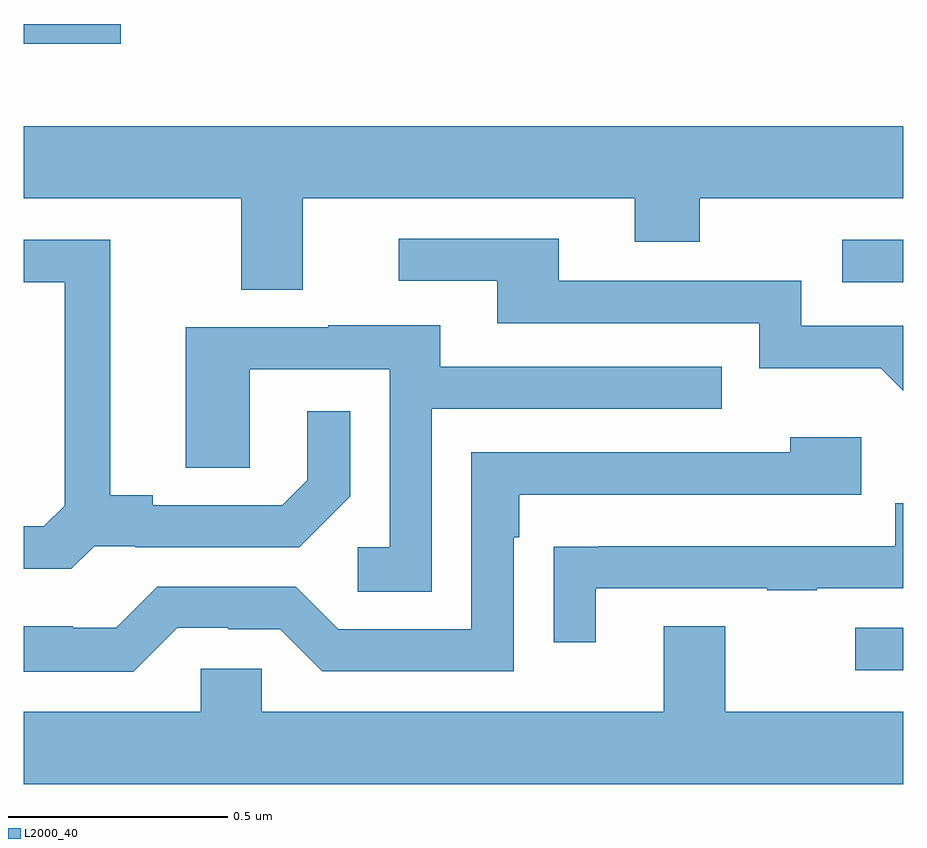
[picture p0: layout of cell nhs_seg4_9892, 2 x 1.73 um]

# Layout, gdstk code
import gdstk
lib = gdstk.Library(unit=1e-6, precision=1e-09)
def R(c, l, rs):  # rectangles x0, y0, x1, y1
    for r in rs: c.add(gdstk.rectangle(r[:2], r[2:], *l))
def P(c, l, *ps):  # polygons
    for p in ps: c.add(gdstk.Polygon(p, *l))
L2000_40 = (2000, 40)

nhs_seg4_9892 = lib.new_cell('nhs_seg4_9892')
R(nhs_seg4_9892, L2000_40, [(234.891,778.431,235,778.527), (234.861,779.313,235,779.409), (233,779.855,233.221,779.9)])
P(nhs_seg4_9892, L2000_40, [(233.635,779.504),(234.389,779.504),(234.389,779.405),(234.537,779.405),(234.537,779.504),(235,779.504),(235,779.668),(233,779.668),(233,779.504),(233.495,779.504),(233.495,779.296),(233.635,779.296)],
  [(235,779.214),(234.768,779.214),(234.768,779.316),(234.217,779.316),(234.217,779.412),(233.853,779.412),(233.853,779.316),(234.077,779.316),(234.077,779.22),(234.672,779.22),(234.672,779.117),(234.949,779.117),(235,779.066)],
  [(233.16,778.713),(233.254,778.713),(233.254,778.71),(233.626,778.71),(233.742,778.826),(233.742,779.02),(233.645,779.02),(233.645,778.863),(233.588,778.806),(233.293,778.806),(233.293,778.829),(233.197,778.829),(233.197,779.409),(233,779.409),(233,779.313),(233.093,779.313),(233.093,778.805),(233.046,778.758),(233,778.758),(233,778.661),(233.108,778.661)],
  [(233.928,779.025),(234.587,779.025),(234.587,779.121),(233.947,779.121),(233.947,779.215),(233.693,779.215),(233.693,779.211),(233.369,779.211),(233.369,778.891),(233.514,778.891),(233.514,779.115),(233.832,779.115),(233.832,778.71),(233.76,778.71),(233.76,778.609),(233.928,778.609)],
  [(233.349,778.527),(233.465,778.527),(233.465,778.524),(233.583,778.524),(233.679,778.428),(234.114,778.428),(234.114,778.733),(234.127,778.733),(234.127,778.83),(234.904,778.83),(234.904,778.96),(234.743,778.96),(234.743,778.926),(234.018,778.926),(234.018,778.524),(233.715,778.524),(233.619,778.62),(233.304,778.62),(233.211,778.527),(233.111,778.527),(233.111,778.531),(233,778.531),(233,778.427),(233.249,778.427)],
  [(234.301,778.617),(234.691,778.617),(234.691,778.612),(234.803,778.612),(234.803,778.617),(235,778.617),(235,778.81),(234.982,778.81),(234.982,778.713),(234.307,778.713),(234.307,778.712),(234.205,778.712),(234.205,778.494),(234.301,778.494)],
  [(233.403,778.434),(233.403,778.336),(233,778.336),(233,778.172),(235,778.172),(235,778.336),(234.595,778.336),(234.595,778.531),(234.455,778.531),(234.455,778.336),(233.541,778.336),(233.541,778.434)])

lib.write_gds('nhs_seg4_9892.gds')
